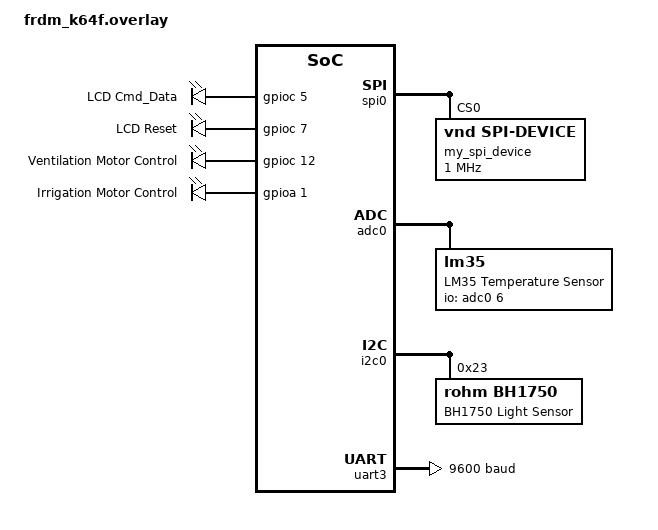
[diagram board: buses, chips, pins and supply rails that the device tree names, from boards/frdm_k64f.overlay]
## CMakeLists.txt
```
# SPDX-License-Identifier: Apache-2.0

cmake_minimum_required(VERSION 3.20.0)

find_package(Zephyr REQUIRED HINTS $ENV{ZEPHYR_BASE})
project(hello_world)

target_sources(app PRIVATE src/main.c)
target_sources(app PRIVATE "src/SPI_LCD/spi_lcd_nokia.c")
target_sources(app PRIVATE "src/SPI_LCD/lcd_nokia_images.c")
target_sources(app PRIVATE "src/SPI_LCD/lcd_nokia_draw.c")
target_sources(app PRIVATE "src/display_manager.c")
target_sources(app PRIVATE "src/sensor_manager.c")
target_sources(app PRIVATE "src/env_controller.c")
target_sources(app PRIVATE "src/mode_controller.c")
target_sources(app PRIVATE "src/adjust_manager.c")
target_sources(app PRIVATE "src/uart_bt.c")
target_sources(app PRIVATE "src/command_parser.c")

target_include_directories(app PRIVATE src/SPI_LCD)
```

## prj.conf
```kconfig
# Enable required sensor drivers
CONFIG_SENSOR=y
CONFIG_I2C=y
CONFIG_ADC=y
CONFIG_GPIO=y

# BH1750 (Light sensor)
CONFIG_BH1750=y

# DHT11/DHT22 (Temp/Humidity)
CONFIG_DHT=y

# LM35 (Temperature - optional, alternative to DHT)
CONFIG_LM35=y

# SPI and GPIO for LCD (existing)
CONFIG_SPI=y

# UART for Bluetooth
CONFIG_SERIAL=y
CONFIG_UART_INTERRUPT_DRIVEN=y

# Basic System
CONFIG_MAIN_STACK_SIZE=2048
CONFIG_HEAP_MEM_POOL_SIZE=1024

# Depuration console for UART0
CONFIG_CONSOLE=y
CONFIG_UART_CONSOLE=y

# Enable logging for debugging
CONFIG_LOG=y
CONFIG_SENSOR_LOG_LEVEL_DBG=y

# Math and float support
CONFIG_FPU=y
CONFIG_CBPRINTF_FP_SUPPORT=y
CONFIG_NEWLIB_LIBC=y
CONFIG_NEWLIB_LIBC_FLOAT_PRINTF=y
```

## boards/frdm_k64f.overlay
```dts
/ {
    aliases {
        /* LCD control aliases */
        cmd-data = &cmd_data;
        reset-pin = &reset_sign;

        /* Sensor aliases used by sensor_manager.c */
        lm35 = &lm35_sensor;
        bh1750 = &bh1750_sensor;
        dht11 = &dht11_sensor;

        /* Actuator aliases */
        fan-actuator = &fan_motor;
        irrigation-actuator = &irrigation_motor;
    };

    /* LCD + actuator GPIO container */
    io_pins {
        compatible = "gpio-leds";

        cmd_data: cmd_data {
            gpios = <&gpioc 5 GPIO_ACTIVE_HIGH>;
            label = "LCD Cmd_Data";
        };

        reset_sign: reset_sign {
            gpios = <&gpioc 7 GPIO_ACTIVE_HIGH>;
            label = "LCD Reset";
        };

        /* Fan actuator stays on PTC12 */
        fan_motor: fan_motor {
            gpios = <&gpioc 12 GPIO_ACTIVE_HIGH>;
            label = "Ventilation Motor Control";
        };

        /* Irrigation actuator moved to PTA1 */
        irrigation_motor: irrigation_motor {
            gpios = <&gpioa 1 GPIO_ACTIVE_HIGH>;
            label = "Irrigation Motor Control";
        };
    };
};

/* --- LCD SPI interface (already working) ----------------------------------- */
&spi0 {
    status = "okay";
    pinctrl-0 = <&spi0_default>;
    pinctrl-names = "default";

    my_spi_device: spi-device@0 {
        compatible = "vnd,spi-device";
        reg = <0>;
        spi-max-frequency = <1000000>;
    };
};

/* --- LM35 Analog Temperature Sensor ---------------------------------------- */
&adc0 {
    status = "okay";

    lm35_sensor: lm35 {
        compatible = "lm35";
        io-channels = <&adc0 6>;
        status = "okay";
        label = "LM35 Temperature Sensor";
    };
};

/* --- BH1750 I2C Light Sensor ------------------------------------------------ */
&i2c0 {
    status = "okay";
    pinctrl-0 = <&i2c0_default>;
    pinctrl-names = "default";

    bh1750_sensor: bh1750@23 {
        compatible = "rohm,bh1750";
        reg = <0x23>;
        status = "okay";
        label = "BH1750 Light Sensor";
    };
};

/* --- DHT11 Humidity Sensor -------------------------------------------------- */
&gpioc {
    status = "okay";

    dht11_sensor: dht11 {
        compatible = "aosong,dht";
        dio-gpios = <&gpioc 3 (GPIO_ACTIVE_HIGH)>;
        status = "okay";
        label = "DHT11 Humidity Sensor";
    };
};

/* --- Enable GPIOA for PTA1 -------------------------------------------------- */
&gpioa {
    status = "okay";
};

/* --- UART3 for Bluetooth ---------------------------------------------------- */
&uart3 {
    status = "okay";
    current-speed = <9600>;
    pinctrl-0 = <&uart3_default>;
    pinctrl-names = "default";
};
```

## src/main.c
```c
/**
 * @file    main.c
 *
 * @brief   Application entry point for the real-time environmental monitoring
 *          and control system.
 *
 * This file initializes all system modules, launches mode control and Bluetooth
 * communication threads, and runs the main loop responsible for sampling sensors,
 * updating the global environment controller, refreshing the display, and
 * evaluating actuator behavior based on user-defined thresholds.
 *
 * @par
 * Rodriguez Padilla, Daniel Jiram
 * IE703331
 * Martin del Campo, Mauricio
 * IE734429
 */

#include <zephyr/kernel.h>
#include <zephyr/sys/printk.h>

#include "env_controller.h"
#include "sensor_manager.h"
#include "display_manager.h"
#include "mode_controller.h"
#include "adjust_manager.h"
#include "uart_bt.h"

#define MAIN_LOOP_PERIOD_MS   500

/* Thread stacks */
K_THREAD_STACK_DEFINE(mode_thread_stack, 1024);
K_THREAD_STACK_DEFINE(bt_thread_stack,   2048);

/* Thread control blocks */
static struct k_thread mode_thread;
static struct k_thread bt_thread;

int main(void)
{
    printk("\n=== Starting Greenhouse Control System ===\n");

    /* Initialize global environment state */
    env_controller_init();

    /* Initialize sensors */
    if (sensor_manager_init() != 0) {
        printk("ERROR: sensor_manager_init() failed!\n");
    }

    /* Initialize LCD display (driver + framebuffer) */
    if (display_init() != 0) {
        printk("ERROR: display_init() failed!\n");
    } else {
        /* Optional: show logo at startup if you want */
        display_show_logo();
    }

    /* Initialize actuator logic */
    adjust_manager_init();

    /* Initialize button-based mode control */
    if (mode_controller_init() != 0) {
        printk("ERROR: mode_controller_init() failed!\n");
    }

    /* Spawn mode controller thread */
    k_thread_create(&mode_thread,
                    mode_thread_stack,
                    K_THREAD_STACK_SIZEOF(mode_thread_stack),
                    mode_controller_thread,
                    NULL, NULL, NULL,
                    5, 0, K_NO_WAIT);

    /* Spawn Bluetooth UART thread */
    k_thread_create(&bt_thread,
                    bt_thread_stack,
                    K_THREAD_STACK_SIZEOF(bt_thread_stack),
                    uart_bt_thread,
                    NULL, NULL, NULL,
                    5, 0, K_NO_WAIT);

    /* ------------------------------------------------------------------ */
    /*                         MAIN SYSTEM LOOP                           */
    /* ------------------------------------------------------------------ */

    while (1) {

        /* 1. Read all environmental sensors */
        sensor_data_t sensor_data;
        sensor_manager_read_all(&sensor_data);

        /* 2. Update global environment state */
        k_mutex_lock(&env.lock, K_FOREVER);
        env.measurements.temperature = sensor_data.temperature;
        env.measurements.humidity    = sensor_data.humidity;
        env.measurements.light       = sensor_data.light_level;
        env_mode_t mode              = env.mode;
        k_mutex_unlock(&env.lock);

        /* 3. Prepare display data (no setpoints in display_data_t) */
        display_data_t disp;
        disp.temperature = sensor_data.temperature;
        disp.humidity    = sensor_data.humidity;
        disp.light_level = sensor_data.light_level;
        disp.mode        = mode;

        /* 4. Update display */
        display_update(&disp);

        /* 5. Update actuator states based on thresholds */
        adjust_manager_update_actuators();

        /* 6. Loop timing */
        k_msleep(MAIN_LOOP_PERIOD_MS);
    }

    return 0;
}
```

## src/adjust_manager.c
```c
/**
 * @file    adjust_manager.c
 *
 * @brief   Implementation of setpoint adjustment and actuator control logic.
 *
 * This file validates and applies incoming setpoint changes, updates the global
 * environment controller, and evaluates system measurements to control actuators
 * such as ventilation, irrigation motors, and light indicators.
 *
 * The actuator control routine compares actual environmental readings against
 * user-defined thresholds and activates or deactivates outputs accordingly.
 * This enables automated greenhouse behavior driven by Bluetooth configuration.
 *
 * @par
 * Rodriguez Padilla, Daniel Jiram  
 * IE703331  
 * Martin del Campo, Mauricio  
 * IE734429
 */

#include <zephyr/sys/printk.h>
#include <zephyr/drivers/gpio.h>

#include "adjust_manager.h"
#include "mode_controller.h"
#include "env_controller.h"

/* Actuator GPIO definitions from device tree aliases */
#define FAN_NODE          DT_ALIAS(fan_actuator)
#define IRRIGATION_NODE   DT_ALIAS(irrigation_actuator)
#define LIGHT_NODE        DT_ALIAS(led0)

static const struct gpio_dt_spec fan_gpio =
        GPIO_DT_SPEC_GET(FAN_NODE, gpios);

static const struct gpio_dt_spec irrigation_gpio =
        GPIO_DT_SPEC_GET(IRRIGATION_NODE, gpios);

static const struct gpio_dt_spec light_gpio =
        GPIO_DT_SPEC_GET(LIGHT_NODE, gpios);

/* Initializes actuator GPIO pins */
static void adjust_manager_init_actuators(void)
{
    gpio_pin_configure_dt(&fan_gpio, GPIO_OUTPUT_INACTIVE);
    gpio_pin_configure_dt(&irrigation_gpio, GPIO_OUTPUT_INACTIVE);
    gpio_pin_configure_dt(&light_gpio, GPIO_OUTPUT_INACTIVE);
}

void adjust_manager_init(void)
{
    adjust_manager_init_actuators();
}

/* Core actuator control logic */
void adjust_manager_update_actuators(void)
{
    env_measurements_t m;
    env_setpoints_t sp;

    /* Read shared state safely */
    k_mutex_lock(&env.lock, K_FOREVER);
    m = env.measurements;
    sp = env.setpoints;
    k_mutex_unlock(&env.lock);

    /* Light control */
    gpio_pin_set_dt(&light_gpio, (m.light < sp.target_light));

    /* Temperature control */
    gpio_pin_set_dt(&fan_gpio, (m.temperature > sp.target_temperature));

    /* Humidity control */
    gpio_pin_set_dt(&irrigation_gpio, (m.humidity < sp.target_humidity));
}

/* Apply new setpoints */
void adjust_manager_apply_new_setpoints(const env_setpoints_t *new_sp)
{
    if (!new_sp) return;

    k_mutex_lock(&env.lock, K_FOREVER);
    env.setpoints = *new_sp;
    k_mutex_unlock(&env.lock);

    printk("Setpoints updated: T=%.1f  H=%.1f  L=%.1f\n",
           new_sp->target_temperature,
           new_sp->target_humidity,
           new_sp->target_light);
}

/* Validation of setpoints */
bool adjust_manager_validate(const env_setpoints_t *sp)
{
    if (!sp) return false;

    return !(sp->target_temperature < 0.0f || sp->target_temperature > 50.0f ||
             sp->target_humidity    < 0.0f || sp->target_humidity    > 100.0f ||
             sp->target_light       < 0.0f || sp->target_light       > 2000.0f);
}

/* Process parsed command from UART */
void adjust_manager_process_action(env_mode_t requested_mode,
                                   const env_setpoints_t *parsed_sp,
                                   bool change_setpoints,
                                   bool change_mode)
{
    /* Handle mode change */
    if (change_mode) {
        mode_controller_set_mode(requested_mode);
    }

    /* Handle setpoint update */
    if (change_setpoints && parsed_sp) {
        if (adjust_manager_validate(parsed_sp)) {
            adjust_manager_apply_new_setpoints(parsed_sp);
        } else {
            printk("Invalid setpoints received.\n");
        }
    }
}
```

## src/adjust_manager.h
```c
/**
 * @file    adjust_manager.h
 *
 * @brief   High-level API for applying setpoint changes and system adjustments.
 *
 * This module receives validated parameter updates (typically from UART/Bluetooth
 * commands), ensures data integrity, and applies them to the environment
 * controller. It also triggers actuator control logic, enabling or disabling
 * motors or indicators based on real-time measurements compared to configured
 * thresholds.
 *
 * The adjust_manager acts as the "decision layer" between raw command parsing
 * and system state mutation.
 *
 * @par
 * Rodriguez Padilla, Daniel Jiram  
 * IE703331  
 * Martin del Campo, Mauricio  
 * IE734429
 */

 #ifndef ADJUST_MANAGER_H
#define ADJUST_MANAGER_H

#include "env_controller.h"

void adjust_manager_init(void);
void adjust_manager_update_actuators(void);


/* Applies validated setpoints to the global controller */
void adjust_manager_apply_new_setpoints(const env_setpoints_t *new_sp);

/* Validates setpoints before applying them */
bool adjust_manager_validate(const env_setpoints_t *sp);

/* Converts parser results into system changes (WITHOUT UART) */
void adjust_manager_process_action(env_mode_t requested_mode,
                                   const env_setpoints_t *parsed_sp,
                                   bool change_setpoints,
                                   bool change_mode);

#endif /* ADJUST_MANAGER_H */
```

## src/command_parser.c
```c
/**
 * @file    command_parser.c
 *
 * @brief   Text command interpretation for greenhouse configuration.
 *
 * This module processes incoming ASCII commands received over UART/Bluetooth,
 * extracting operational requests such as mode changes and setpoint updates.
 * It uses a case-insensitive tokenization approach to support flexible input
 * formatting while generating structured parser_result_t outputs.
 *
 * The command parser does not modify system state directly; instead, it provides
 * validated results for adjust_manager to apply securely.
 *
 * @par
 * Rodriguez Padilla, Daniel Jiram  
 * IE703331  
 * Martin del Campo, Mauricio  
 * IE734429
 */

 #include <string.h>
#include <ctype.h>
#include <stdlib.h>
#include <stdio.h>

#include "command_parser.h"

/* Helper: case-insensitive string compare */
static bool str_iequals(const char *a, const char *b)
{
    while (*a && *b) {
        if (tolower((unsigned char)*a) != tolower((unsigned char)*b))
            return false;
        a++; b++;
    }
    return (*a == '\0' && *b == '\0');
}

/* Parses commands like:
 *  TEMP=25.5,HUM=60,LUX=500
 *  MODE=READ
 *  MODE=ADJUST
 */
parser_result_t command_parser_parse(const char *cmd,
                                     const env_setpoints_t *current_sp)
{
    parser_result_t result = {
        .action = PARSER_ACTION_NONE,
        .new_setpoints = *current_sp /* default copy */
    };

    if (!cmd || strlen(cmd) < 3)
        return result;

    /* Make a working copy of the command */
    char buffer[64];
    strncpy(buffer, cmd, sizeof(buffer) - 1);
    buffer[sizeof(buffer) - 1] = '\0';

    /* Remove spaces */
    for (int i = 0; buffer[i]; i++)
        if (buffer[i] == ' ') buffer[i] = '\0';

    /* ---- Parse mode commands ---- */
    if (str_iequals(buffer, "MODE=READ")) {
        result.action = PARSER_ACTION_MODE_READ;
        return result;
    }
    if (str_iequals(buffer, "MODE=ADJUST")) {
        result.action = PARSER_ACTION_MODE_ADJUST;
        return result;
    }

    /* ---- Parse setpoint commands ---- */
    /* Expected format: TEMP=xx,HUM=xx,LUX=xx */
    char *token = strtok(buffer, ",");
    bool updated_any = false;

    while (token != NULL) {
        char *eq = strchr(token, '=');
        if (eq) {
            *eq = '\0';
            const char *key = token;
            const char *val = eq + 1;
            float fval = atof(val);

            /* Match the variable and update */
            if (str_iequals(key, "TEMP")) {
                result.new_setpoints.target_temperature = fval;
                updated_any = true;
            }
            else if (str_iequals(key, "HUM")) {
                result.new_setpoints.target_humidity = fval;
                updated_any = true;
            }
            else if (str_iequals(key, "LUX")) {
                result.new_setpoints.target_light = fval;
                updated_any = true;
            }
        }

        token = strtok(NULL, ",");
    }

    if (updated_any) {
        result.action = PARSER_ACTION_SET_SETPOINTS;
    }

    return result;
}
```

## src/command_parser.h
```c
/**
 * @file    command_parser.h
 *
 * @brief   Command parsing interface for Bluetooth UART input.
 *
 * This module defines parser result structures and actions representing the
 * interpretation of incoming text commands. Commands such as:
 *     - TEMP=25.5,HUM=60,LUX=400
 *     - MODE=READ
 *     - MODE=ADJUST
 * are validated and translated into structured parser_result_t objects to be
 * executed by the adjust_manager.
 *
 * @par
 * Rodriguez Padilla, Daniel Jiram  
 * IE703331  
 * Martin del Campo, Mauricio  
 * IE734429
 */

 #ifndef COMMAND_PARSER_H
#define COMMAND_PARSER_H

#include "env_controller.h"

/* Actions the parser can request */
typedef enum {
    PARSER_ACTION_NONE = 0,
    PARSER_ACTION_SET_SETPOINTS,
    PARSER_ACTION_MODE_READ,
    PARSER_ACTION_MODE_ADJUST
} parser_action_t;

/* Resulting structure after parsing a command */
typedef struct {
    parser_action_t action;
    env_setpoints_t new_setpoints; /* Only valid when action == SET_SETPOINTS */
} parser_result_t;

/* Parses a Bluetooth command string */
parser_result_t command_parser_parse(const char *cmd,
                                     const env_setpoints_t *current_sp);

#endif /* COMMAND_PARSER_H */
```

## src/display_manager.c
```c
/**
 * @file    display_manager.c
 *
 * @brief   Implementation of Nokia LCD UI rendering for greenhouse monitoring.
 *
 * This module formats environmental values into human-readable output and draws
 * them to the LCD framebuffer. It supports boot logos, live measurement updates,
 * and contextual mode displays, ensuring that the user receives immediate visual
 * feedback on system status.
 *
 * Display updates are triggered by the application layer and do not manage
 * asynchronous state transitions on their own.
 *
 * @par
 * Rodriguez Padilla, Daniel Jiram  
 * IE703331  
 * Martin del Campo, Mauricio  
 * IE734429
 */

#include <stdio.h>
#include <string.h>
#include <stdlib.h>
#include <zephyr/kernel.h>
#include "SPI_LCD/spi_lcd_nokia.h"
#include "SPI_LCD/lcd_nokia_images.h"
#include "display_manager.h"

/* Macro to avoid float to double promotion warning */
#define FLOAT_TO_DBL(f) ((double)(f))

/* Private variables */
static bool display_initialized = false;

int display_init(void)
{
    int ret;
    
    ret = Nokia_Lcd_Init();
    if (ret != NOKIA_LCD_OK) {
        printk("[DISPLAY] Failed to initialize LCD\n");
        return -1;
    }
    
    display_initialized = true;
    printk("[DISPLAY] Display manager initialized successfully\n");
    return 0;
}

void display_show_logo(void)
{
    if (!display_initialized) {
        printk("[DISPLAY] Error: Display not initialized\n");
        return;
    }
    
    LCD_nokia_bitmap(NXP);
    printk("[DISPLAY] Showing NXP logo\n");
    k_msleep(2000);
    LCD_nokia_clear();
}

void display_update(const display_data_t *data)
{
    char temp_str[20];
    char light_str[20];
    char humid_str[20];
    char mode_str[20];
    
    if (!display_initialized || data == NULL) {
        return;
    }
    
    /* Clear the screen completely */
    LCD_nokia_clear();
    
    /* Or clear specific rows if you want to keep some graphics */
    /* 
    for (int i = 0; i < 4; i++) {
        LCD_nokia_clear_range_FrameBuffer(0, i, 84);
    }
    */
    
    /* Format and display strings */
    snprintf(temp_str, sizeof(temp_str), "Temp: %.1fC", (double)data->temperature);
    LCD_nokia_write_string_xy_FB(0, 0, (uint8_t *)temp_str);
    
    snprintf(light_str, sizeof(light_str), "Light: %.0f lux", (double)data->light_level);
    LCD_nokia_write_string_xy_FB(0, 1, (uint8_t *)light_str);
    
    snprintf(humid_str, sizeof(humid_str), "Humid: %.1f%%", (double)data->humidity);
    LCD_nokia_write_string_xy_FB(0, 2, (uint8_t *)humid_str);
    
    snprintf(mode_str, sizeof(mode_str), "Mode: %s", 
             (data->mode == MODE_READ_ONLY) ? "Read Only" : "Adjusting");
    LCD_nokia_write_string_xy_FB(0, 3, (uint8_t *)mode_str);
    
    LCD_nokia_sent_FrameBuffer();
}


void display_clear(void)
{
    if (!display_initialized) return;
    LCD_nokia_clear();
}

bool display_is_initialized(void)
{
    return display_initialized;
}
```

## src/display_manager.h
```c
/**
 * @file    display_manager.h
 *
 * @brief   LCD rendering interface for greenhouse system data.
 *
 * This module defines high-level drawing functions for presenting live sensor
 * data, system mode, and configured setpoints on a Nokia 5110 display. It
 * abstracts all low-level SPI communication and graphical operations through
 * the underlying driver.
 *
 * The display_manager is responsible for UI consistency and synchronous updates
 * triggered by the main application loop.
 *
 * @par
 * Rodriguez Padilla, Daniel Jiram  
 * IE703331  
 * Martin del Campo, Mauricio  
 * IE734429
 */

#ifndef DISPLAY_MANAGER_H
#define DISPLAY_MANAGER_H

#include <stdbool.h>

/* System mode enumeration */
typedef enum {
    MODE_READ_ONLY,     /* Read-only mode, no adjustments allowed */
    MODE_ADJUSTING      /* Adjustment mode, setpoints can be changed */
} system_mode_t;

/* Display data structure */
typedef struct {
    float temperature;   /* Temperature in Celsius */
    float light_level;   /* Light level in lux */
    float humidity;      /* Humidity percentage */
    system_mode_t mode;  /* Current system mode */
} display_data_t;

/* Display initialization and control */
int display_init(void);
void display_clear(void);
bool display_is_initialized(void);

/* Logo display functions */
void display_show_logo(void);
void display_show_iteso_logo(void);

/* Main display update functions */
void display_update(const display_data_t *data);
void display_update_table_format(const display_data_t *data);

/* Special display modes */
void display_setpoints(float temp_setpoint, float light_setpoint, float humid_setpoint);
void display_draw_graph(const float *values, uint8_t count, float max_value, uint8_t row);

/* Status and message displays */
void display_message(uint8_t line, const char *message);
void display_error(const char *error_message);
void display_bluetooth_status(bool connected);

#endif /* DISPLAY_MANAGER_H */
```

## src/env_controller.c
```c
/**
 * @file    env_controller.c
 *
 * @brief   Implementation of global environment controller.
 *
 * This file defines the global instance of the environment controller (`env`),
 * initializes its mutex, and sets default operating parameters such as initial
 * mode and default setpoints. All system modules rely on this shared structure
 * to synchronize access to greenhouse state information.
 *
 * @par
 * Rodriguez Padilla, Daniel Jiram  
 * IE703331  
 * Martin del Campo, Mauricio  
 * IE734429
 */

#include "env_controller.h"

/* Global environment controller instance */
env_controller_t env = {
    .mode = ENV_MODE_READ_ONLY,
    .measurements = {0.0f, 0.0f, 0.0f},
    .setpoints = {
        .target_temperature = 25.0f,
        .target_humidity = 60.0f,
        .target_light = 500.0f
    }
};

void env_controller_init(void)
{
    /* Initialize the mutex that protects global state */
    k_mutex_init(&env.lock);

    /* Optionally overwrite default values here if needed */
}
```

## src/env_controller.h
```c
/**
 * @file    env_controller.h
 *
 * @brief   Global environment controller data structure and API.
 *
 * This module defines the central shared state of the greenhouse control system,
 * including operating mode, real-time sensor measurements, and user-defined
 * setpoints. All modules interact with this controller to read or modify system
 * state safely through a mutex-protected structure.
 *
 * The env_controller acts as the synchronized "core" that ties together
 * sensor_manager, display_manager, adjust_manager, mode_controller, and
 * uart_bt modules.
 *
 * @par
 * Rodriguez Padilla, Daniel Jiram  
 * IE703331  
 * Martin del Campo, Mauricio  
 * IE734429
 */

#ifndef ENV_CONTROLLER_H
#define ENV_CONTROLLER_H

#include <zephyr/kernel.h>

/* System operating modes */
typedef enum {
    ENV_MODE_READ_ONLY = 0,
    ENV_MODE_ADJUSTING = 1
} env_mode_t;

/* Latest measurements provided by sensor_manager */
typedef struct {
    float temperature;   /* Celsius */
    float humidity;      /* Percentage */
    float light;         /* Lux */
} env_measurements_t;

/* User-defined target values (adjustable by Bluetooth or UI) */
typedef struct {
    float target_temperature;   /* Celsius */
    float target_humidity;      /* Percentage */
    float target_light;         /* Lux */
} env_setpoints_t;

/* Central environment controller structure */
typedef struct {
    env_mode_t mode;
    env_measurements_t measurements;
    env_setpoints_t setpoints;
    struct k_mutex lock; /* Protects all shared data */
} env_controller_t;

/* Global instance */
extern env_controller_t env;

/* Initializes the controller (mutex + default values) */
void env_controller_init(void);

#endif /* ENV_CONTROLLER_H */
```

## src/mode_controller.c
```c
/**
 * @file    mode_controller.c
 *
 * @brief   Implementation of greenhouse operating mode control.
 *
 * This module configures the hardware button and on-board LED and manages
 * transitions between READ_ONLY and ADJUSTING modes. It updates the global
 * environment controller (env) and ensures thread-safe operations through
 * mutex protection.
 *
 * A dedicated thread waits for button interrupts and performs mode toggling,
 * providing a simple local interface to override system behavior without
 * relying on Bluetooth input.
 *
 * @par
 * Rodriguez Padilla, Daniel Jiram  
 * IE703331  
 * Martin del Campo, Mauricio  
 * IE734429
 */

 #include <zephyr/device.h>
#include <zephyr/drivers/gpio.h>
#include <zephyr/kernel.h>
#include <zephyr/sys/printk.h>

#include "mode_controller.h"
#include "display_manager.h"
#include "env_controller.h"

/* Button and LED aliases must exist in the board overlay */
#define BUTTON_NODE DT_ALIAS(sw0)
#define LED_NODE    DT_ALIAS(led0)

/* Read button and LED pin specifications */
static struct gpio_dt_spec button = GPIO_DT_SPEC_GET(BUTTON_NODE, gpios);
static struct gpio_dt_spec led = GPIO_DT_SPEC_GET(LED_NODE, gpios);

static struct gpio_callback button_cb;
K_SEM_DEFINE(button_sem, 0, 1);

/* Interrupt callback for button press */
static void button_pressed(const struct device *dev,
                           struct gpio_callback *cb,
                           uint32_t pins)
{
    k_sem_give(&button_sem);
}

/* Initialize LED + button + interrupts */
int mode_controller_init(void)
{
    if (!device_is_ready(led.port)) {
        printk("LED device not ready\n");
        return -1;
    }

    if (!device_is_ready(button.port)) {
        printk("Button device not ready\n");
        return -1;
    }

    gpio_pin_configure_dt(&led, GPIO_OUTPUT_INACTIVE);
    gpio_pin_configure_dt(&button, GPIO_INPUT);
    gpio_pin_interrupt_configure_dt(&button, GPIO_INT_EDGE_TO_ACTIVE);

    gpio_init_callback(&button_cb, button_pressed, BIT(button.pin));
    gpio_add_callback(button.port, &button_cb);

    printk("Mode controller initialized.\n");
    return 0;
}

/* Update global mode safely and notify display */
void mode_controller_set_mode(env_mode_t new_mode)
{
    k_mutex_lock(&env.lock, K_FOREVER);
    env.mode = new_mode;
    k_mutex_unlock(&env.lock);

    /* Update LED based on mode */
    gpio_pin_set_dt(&led, (new_mode == ENV_MODE_ADJUSTING));

    /* Print debug info */
    if (new_mode == ENV_MODE_READ_ONLY) {
        printk("System mode set to READ_ONLY\n");
    } else {
        printk("System mode set to ADJUSTING\n");
    }
}

/* Thread: waits for button press and toggles mode */
void mode_controller_thread(void *p1, void *p2, void *p3)
{
    while (1) {
        k_sem_take(&button_sem, K_FOREVER);

        /* Toggle mode */
        k_mutex_lock(&env.lock, K_FOREVER);
        env_mode_t current = env.mode;
        env_mode_t new_mode = 
            (current == ENV_MODE_READ_ONLY) ?
            ENV_MODE_ADJUSTING : ENV_MODE_READ_ONLY;
        k_mutex_unlock(&env.lock);

        mode_controller_set_mode(new_mode);
    }
}
```

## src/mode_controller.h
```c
/**
 * @file    mode_controller.h
 *
 * @brief   Mode management API for switching between READ_ONLY and ADJUSTING modes.
 *
 * This module exposes functions to initialize the user mode interface (button + LED),
 * explicitly change system mode, and run a background thread that toggles modes upon
 * button presses. Mode changes propagate into the env_controller and may alter system
 * behavior such as actuator control and UI updates.
 *
 * @par
 * Rodriguez Padilla, Daniel Jiram  
 * IE703331  
 * Martin del Campo, Mauricio  
 * IE734429
 */

 #ifndef MODE_CONTROLLER_H
#define MODE_CONTROLLER_H

#include <zephyr/kernel.h>
#include "env_controller.h"

/* Initializes button GPIO and mode control logic */
int mode_controller_init(void);

/* Explicitly sets the system mode */
void mode_controller_set_mode(env_mode_t new_mode);

/* Background thread that listens for button presses */
void mode_controller_thread(void *p1, void *p2, void *p3);

#endif /* MODE_CONTROLLER_H */
```

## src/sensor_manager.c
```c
/**
 * @file    sensor_manager.c
 *
 * @brief   Implementation of environmental sensor sampling routines.
 *
 * This module initializes and interfaces with configured sensors defined in
 * the device tree. It performs synchronous sample acquisition, handles error
 * reporting, and produces structured sensor_data_t outputs containing both
 * raw values and validity indicators.
 *
 * These readings ultimately feed the env_controller structure and drive
 * display, actuator, and Bluetooth reporting behavior.
 *
 * @par
 * Rodriguez Padilla, Daniel Jiram  
 * IE703331  
 * Martin del Campo, Mauricio  
 * IE734429
 */

#include <zephyr/kernel.h>
#include <zephyr/device.h>
#include <zephyr/drivers/sensor.h>
#include <zephyr/drivers/adc.h>
#include <zephyr/logging/log.h>
#include <string.h>
#include <math.h>
#include <stdio.h>
#include <string.h>
#include <stdlib.h>

#include "sensor_manager.h"

LOG_MODULE_REGISTER(sensor_manager, LOG_LEVEL_INF);

/* -------------------- Device Tree Bindings -------------------- */

#define LM35_ADC_NODE      DT_NODELABEL(adc0)
#define LM35_CHANNEL_ID    6   /* ADC0_SE6a = PTD2 */

#define LM35_NODE          DT_ALIAS(lm35)
#define BH1750_NODE        DT_ALIAS(bh1750)
#define DHT11_NODE         DT_ALIAS(dht11)

static const struct device *adc_dev  = DEVICE_DT_GET(LM35_ADC_NODE);
static const struct device *bh1750_dev = DEVICE_DT_GET_OR_NULL(BH1750_NODE);
static const struct device *dht11_dev  = DEVICE_DT_GET_OR_NULL(DHT11_NODE);

/* Error tracking */
static char error_msg[64] = {0};
static bool sensors_ready = false;

/* ADC setup */
static struct adc_channel_cfg lm35_ch_cfg = {
    .gain = ADC_GAIN_1,
    .reference = ADC_REF_INTERNAL,
    .acquisition_time = ADC_ACQ_TIME_DEFAULT,
    .channel_id = LM35_CHANNEL_ID,
    .differential = 0,
};

/* Buffer for ADC conversion */
static int16_t lm35_buf;

/* ADC sequence */
static struct adc_sequence lm35_seq = {
    .channels = BIT(LM35_CHANNEL_ID),
    .buffer = &lm35_buf,
    .buffer_size = sizeof(lm35_buf),
    .resolution = 12,
};

/* ------------------ Initialization ------------------ */

int sensor_manager_init(void)
{
    sensors_ready = false;

    if (!device_is_ready(adc_dev)) {
        LOG_ERR("ADC0 not ready!");
        snprintf(error_msg, sizeof(error_msg), "ADC not ready");
        return -ENODEV;
    }

    if (adc_channel_setup(adc_dev, &lm35_ch_cfg) != 0) {
        LOG_ERR("Failed ADC setup for LM35");
        return -EINVAL;
    }

    LOG_INF("ADC configured for LM35");

    if (bh1750_dev && !device_is_ready(bh1750_dev)) {
        LOG_ERR("BH1750 not ready");
        return -ENODEV;
    }

    if (dht11_dev && !device_is_ready(dht11_dev)) {
        LOG_ERR("DHT11 not ready");
        return -ENODEV;
    }

    sensors_ready = true;
    LOG_INF("Sensor manager initialized successfully");
    return 0;
}

/* ------------------ LM35 via ADC ------------------ */

static int read_lm35(float *temperature)
{
    int ret = adc_read(adc_dev, &lm35_seq);
    if (ret < 0) {
        LOG_ERR("ADC read failed: %d", ret);
        return ret;
    }

    /* Convert ADC reading (0–4095) to mV */
    float mv = (lm35_buf * 3300.0f) / 4095.0f;

    /* LM35 outputs 10mV per °C */
    *temperature = mv * 10.0f;

    LOG_INF("LM35 raw=%d, mv=%.2f, temp=%.2f C",
            lm35_buf, (double)mv, (double)(*temperature));

    return 0;
}

/* ------------------ BH1750 Light Sensor ------------------ */

static int read_bh1750(float *lux)
{
    struct sensor_value val;
    int ret;

    ret = sensor_sample_fetch(bh1750_dev);
    if (ret < 0) {
        LOG_ERR("BH1750 sample error: %d", ret);
        return ret;
    }

    ret = sensor_channel_get(bh1750_dev, SENSOR_CHAN_LIGHT, &val);
    if (ret < 0) {
        LOG_ERR("BH1750 channel error: %d", ret);
        return ret;
    }

    *lux = sensor_value_to_float(&val);
    return 0;
}

/* ------------------ DHT11 (Humidity + Temp) ------------------ */

static int read_dht11(float *temperature, float *humidity)
{
    struct sensor_value t, h;
    int ret;

    ret = sensor_sample_fetch(dht11_dev);
    if (ret < 0) {
        LOG_ERR("DHT11 fetch error: %d", ret);
        return ret;
    }

    if (sensor_channel_get(dht11_dev, SENSOR_CHAN_AMBIENT_TEMP, &t) < 0)
        return -EIO;

    if (sensor_channel_get(dht11_dev, SENSOR_CHAN_HUMIDITY, &h) < 0)
        return -EIO;

    *temperature = sensor_value_to_float(&t);
    *humidity    = sensor_value_to_float(&h);
    return 0;
}

/* ------------------ Main Read Function ------------------ */

int sensor_manager_read_all(sensor_data_t *data)
{
    if (!sensors_ready)
        return -ENODEV;

    memset(data, 0, sizeof(*data));

    float t, h, l;

    /* 1) Read temperature (prefer DHT11 if valid) */
    if (dht11_dev && read_dht11(&t, &h) == 0) {
        data->temperature = t;
        data->humidity    = h;
        data->temperature_valid = true;
        data->humidity_valid = true;
    } else {
        /* fallback LM35 */
        if (read_lm35(&t) == 0) {
            data->temperature = t;
            data->temperature_valid = true;
        } else {
            data->temperature = NAN;
        }
        data->humidity = NAN; /* no humidity */
    }

    /* 2) Light */
    if (bh1750_dev && read_bh1750(&l) == 0) {
        data->light_level = l;
        data->light_valid = true;
    } else {
        data->light_level = NAN;
    }

    data->timestamp = k_uptime_get_32();
    return 0;
}
```

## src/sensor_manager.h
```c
/**
 * @file    sensor_manager.h
 *
 * @brief   API for sampling environmental sensors (temperature, humidity, light).
 *
 * This module abstracts the hardware-specific details of multiple sensors:
 * LM35 (analog temperature), BH1750 (I2C lux sensor), and DHT11 (digital
 * humidity/temperature). It provides unified sampling routines and validity
 * flags for each measurement.
 *
 * Values from sensor_manager are consumed by env_controller and used for
 * actuator control and display updates.
 *
 * @par
 * Rodriguez Padilla, Daniel Jiram  
 * IE703331  
 * Martin del Campo, Mauricio  
 * IE734429
 */

#ifndef SENSOR_MANAGER_H
#define SENSOR_MANAGER_H

#include <zephyr/drivers/sensor.h>

/* Sensor data structure */
typedef struct {
    float temperature;     /* in Celsius */
    float light_level;     /* in lux */
    float humidity;       /* in percentage */
    bool temperature_valid;
    bool light_valid;
    bool humidity_valid;
    uint32_t timestamp;   /* Last reading timestamp */
} sensor_data_t;

/* Sensor initialization */
int sensor_manager_init(void);

/* Read all sensors */
int sensor_manager_read_all(sensor_data_t *data);

/* Read individual sensors */
int sensor_manager_read_temperature(float *temp);
int sensor_manager_read_light(float *light);
int sensor_manager_read_humidity(float *humidity);

/* Sensor status */
bool sensor_manager_is_ready(void);
bool sensor_manager_has_error(void);

/* Get last error string */
const char* sensor_manager_get_error(void);

#endif /* SENSOR_MANAGER_H */
```
